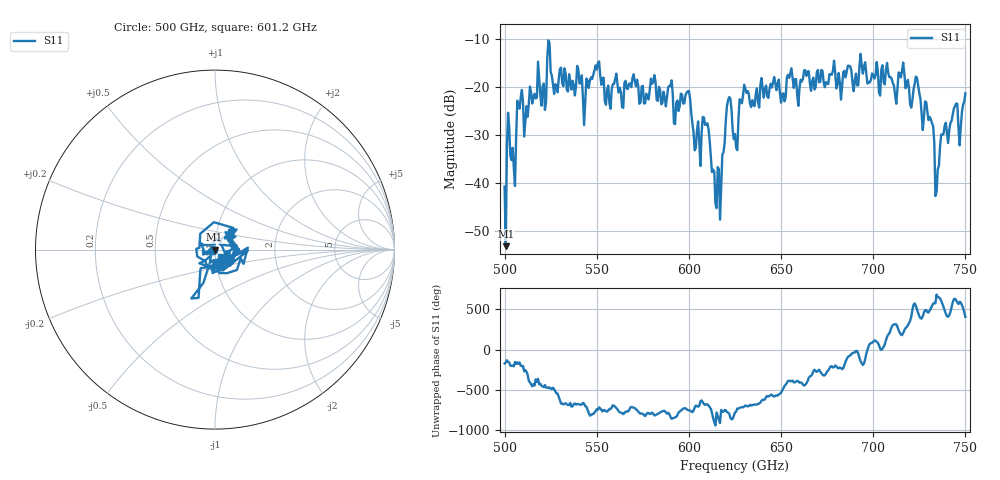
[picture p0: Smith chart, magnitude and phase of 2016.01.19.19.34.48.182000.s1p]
!Created with skrf (http://scikit-rf.org).
# GHz S RI R 50.0
!freq ReS11 ImS11
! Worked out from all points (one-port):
!   401 points, 500 GHz to 750 GHz, reference 50 ohm
!   lowest |S11| = -53.2 dB at 500.6 GHz (marker M1), VSWR 1.00, Z = 49.8 - j0.0784 ohm
!   |S11| at or under -10 dB: start of sweep to end of sweep
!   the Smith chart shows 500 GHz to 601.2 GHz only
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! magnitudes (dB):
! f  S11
! 500 GHz  -40.8
! 500.6 GHz  -53.2
! 502.5 GHz  -28.5
! 505 GHz  -36.9
! 508.1 GHz  -24.6
! 521.2 GHz  -19.3
! 524.4 GHz  -10.9
! 527.5 GHz  -19.5
! 531.2 GHz  -19.3
! 543.8 GHz  -22.9
! 550 GHz  -16.4
! 562.5 GHz  -20.2
! 580.6 GHz  -19.1
! 593.8 GHz  -22.9
! 599.4 GHz  -21.0
! 605 GHz  -27.2
! 608.8 GHz  -27.9
! 615.6 GHz  -36.7
! 621.2 GHz  -22.8
! 625 GHz  -29.9
! 630.6 GHz  -20.4
! 656.2 GHz  -18.3
! 687.5 GHz  -15.8
! 718.8 GHz  -18.6
! 729.4 GHz  -25.2
! 735 GHz  -37.2
! 738.1 GHz  -29.8
! 750 GHz  -21.4
